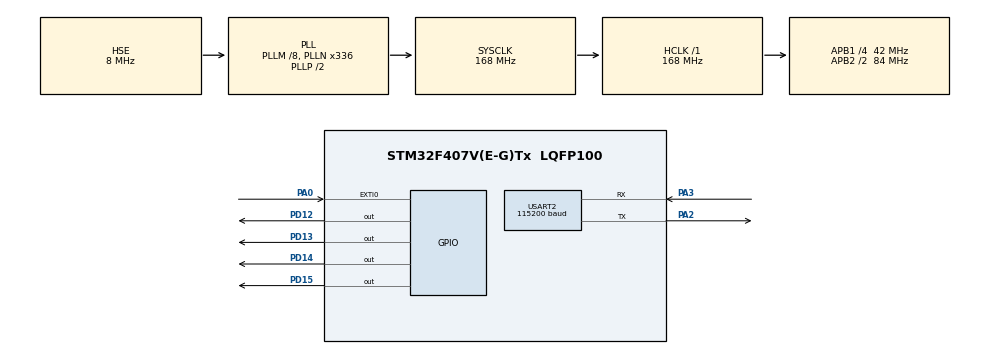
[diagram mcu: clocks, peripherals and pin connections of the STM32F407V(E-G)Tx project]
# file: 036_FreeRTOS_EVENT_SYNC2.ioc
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FREERTOS.Tasks01=defaultTask,24,128,StartDefaultTask,Default,NULL,Dynamic,NULL,NULL
FREERTOS.configUSE_NEWLIB_REENTRANT=1
Mcu.Family=STM32F4
Mcu.Name=STM32F407V(E-G)Tx
Mcu.Package=LQFP100
NVIC.EXTI0_IRQn=true\:5\:0\:false\:false\:true\:true\:true\:true\:true
NVIC.PriorityGroup=NVIC_PRIORITYGROUP_4
NVIC.TIM8_TRG_COM_TIM14_IRQn=true\:15\:0\:false\:false\:true\:false\:false\:true\:true
NVIC.TimeBase=TIM8_TRG_COM_TIM14_IRQn
NVIC.TimeBaseIP=TIM14
NVIC.USART2_IRQn=true\:5\:0\:false\:false\:true\:true\:true\:true\:true
PA0-WKUP.Signal=GPXTI0
PA2.Mode=Asynchronous
PA2.Signal=USART2_TX
PA3.Mode=Asynchronous
PA3.Signal=USART2_RX
PD12.Signal=GPIO_Output
PD13.Signal=GPIO_Output
PD14.Signal=GPIO_Output
PD15.Signal=GPIO_Output
PH0-OSC_IN.Mode=HSE-External-Oscillator
PH0-OSC_IN.Signal=RCC_OSC_IN
PH1-OSC_OUT.Mode=HSE-External-Oscillator
PH1-OSC_OUT.Signal=RCC_OSC_OUT
ProjectManager.HeapSize=0x200
ProjectManager.StackSize=0x400
ProjectManager.TargetToolchain=STM32CubeIDE
RCC.48MHZClocksFreq_Value=48000000
RCC.AHBFreq_Value=168000000
RCC.APB1CLKDivider=RCC_HCLK_DIV4
RCC.APB1Freq_Value=42000000
RCC.APB1TimFreq_Value=84000000
RCC.APB2CLKDivider=RCC_HCLK_DIV2
RCC.APB2Freq_Value=84000000
RCC.APB2TimFreq_Value=168000000
RCC.CortexFreq_Value=168000000
RCC.HCLKFreq_Value=168000000
RCC.HSE_VALUE=8000000
RCC.HSI_VALUE=16000000
RCC.LSE_VALUE=32768
RCC.PLLM=8
RCC.PLLN=336
RCC.PLLQ=7
RCC.PLLSourceVirtual=RCC_PLLSOURCE_HSE
RCC.SYSCLKFreq_VALUE=168000000
RCC.SYSCLKSource=RCC_SYSCLKSOURCE_PLLCLK
RCC.VCOOutputFreq_Value=336000000
USART2.BaudRate=115200
USART2.VirtualMode=VM_ASYNC
VP_FREERTOS_VS_CMSIS_V2.Mode=CMSIS_V2
VP_SYS_VS_tim14.Mode=TIM14
board=STM32F407G-DISC1

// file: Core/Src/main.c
/* USER CODE BEGIN Header */
/**
  ******************************************************************************
  * @file           : main.c
  * @brief          : Main program body
  ******************************************************************************
  * @attention
  *
  * Copyright (c) 2023 STMicroelectronics.
  * All rights reserved.
  *
  * This software is licensed under terms that can be found in the LICENSE file
  * in the root directory of this software component.
  * If no LICENSE file comes with this software, it is provided AS-IS.
  *
  ******************************************************************************
  */
/* USER CODE END Header */
#include "main.h"

/* USER CODE BEGIN Includes */
#include "FreeRTOS.h"
#include "task.h"
#include "queue.h"
#include "event_groups.h"
#include <string.h>
#include <stdio.h>
#include <stdlib.h>
/* USER CODE END Includes */

/* USER CODE BEGIN PD */
#define TASK_0_BIT        ( 1 << 0 )
#define TASK_1_BIT        ( 1 << 1 )
#define TASK_2_BIT        ( 1 << 2 )
#define ALL_SYNC_BITS	  (0x07)
/* USER CODE END PD */

UART_HandleTypeDef huart2;

/* Definitions for defaultTask */
/* USER CODE BEGIN PV */
EventGroupHandle_t xEventBits;
/* USER CODE END PV */

void SystemClock_Config(void);
static void MX_GPIO_Init(void);
static void MX_USART2_UART_Init(void);

/* USER CODE BEGIN 0 */
void vTask0( void *pvParameters )
{
	EventBits_t uxReturn;
	char buffer[100];
    for( ;; )
    {
    	sprintf(buffer, "Task 0 reached sync point!\r\n");
    	HAL_UART_Transmit(&huart2, (uint8_t *)buffer, strlen(buffer), HAL_MAX_DELAY);
        uxReturn = xEventGroupSync( xEventBits,
                                    TASK_0_BIT,
                                    ALL_SYNC_BITS,
                                    portMAX_DELAY );
        if( ( uxReturn & ALL_SYNC_BITS ) == ALL_SYNC_BITS )
        {
        	HAL_GPIO_TogglePin(GPIOD, GPIO_PIN_15);        }
        HAL_GPIO_TogglePin(GPIOD, GPIO_PIN_14);
        sprintf(buffer, "Task 0 reached exited point!\r\n");
        HAL_UART_Transmit(&huart2, (uint8_t *)buffer, strlen(buffer), HAL_MAX_DELAY);
        vTaskDelay(pdMS_TO_TICKS(2000));
    }
}

void vTask1( void *pvParameters )
{
	char buffer[100];
    for( ;; )
    {
    	sprintf(buffer, "Task 1 reached sync point!\r\n");
    	    	HAL_UART_Transmit(&huart2, (uint8_t *)buffer, strlen(buffer), HAL_MAX_DELAY);
        xEventGroupSync( xEventBits, TASK_1_BIT, ALL_SYNC_BITS, portMAX_DELAY );
        HAL_GPIO_TogglePin(GPIOD, GPIO_PIN_13);
        sprintf(buffer, "Task 1 reached exited point!\r\n");
                HAL_UART_Transmit(&huart2, (uint8_t *)buffer, strlen(buffer), HAL_MAX_DELAY);
        vTaskDelay(pdMS_TO_TICKS(900));
    }
}

void vTask2( void *pvParameters )
{
	char buffer[100];
    for( ;; )
    {
    	sprintf(buffer, "Task 2 reached sync point!\r\n");
    	    	    	HAL_UART_Transmit(&huart2, (uint8_t *)buffer, strlen(buffer), HAL_MAX_DELAY);
        xEventGroupSync( xEventBits, TASK_2_BIT, ALL_SYNC_BITS, portMAX_DELAY );
        HAL_GPIO_TogglePin(GPIOD, GPIO_PIN_12);
        sprintf(buffer, "Task 2 reached exited point!\r\n");
                        HAL_UART_Transmit(&huart2, (uint8_t *)buffer, strlen(buffer), HAL_MAX_DELAY);
        vTaskDelay(pdMS_TO_TICKS(700));
    }
}

/* USER CODE END 0 */

int main(void)
{

  /* MCU Configuration--------------------------------------------------------*/

  /* Reset of all peripherals, Initializes the Flash interface and the Systick. */
  HAL_Init();

  /* Configure the system clock */
  SystemClock_Config();

  /* Initialize all configured peripherals */
  MX_GPIO_Init();
  MX_USART2_UART_Init();
  /* USER CODE BEGIN 2 */
  xEventBits = xEventGroupCreate();

  xTaskCreate(vTask0, "Task 1", 1200, NULL, 2, NULL);
  xTaskCreate(vTask1, "Task 2", 1200, NULL, 2, NULL);
  xTaskCreate(vTask2, "Task 3", 1200, NULL, 2, NULL);

  vTaskStartScheduler();
  /* USER CODE END 2 */

  /* Init scheduler */

  /* Create the thread(s) */
  /* creation of defaultTask */

  /* Start scheduler */
  /* We should never get here as control is now taken by the scheduler */
  /* Infinite loop */
  while (1)
  {

  }
}

void SystemClock_Config(void)
{
  RCC_OscInitTypeDef RCC_OscInitStruct = {0};
  RCC_ClkInitTypeDef RCC_ClkInitStruct = {0};

  /** Configure the main internal regulator output voltage
  */
  __HAL_RCC_PWR_CLK_ENABLE();
  __HAL_PWR_VOLTAGESCALING_CONFIG(PWR_REGULATOR_VOLTAGE_SCALE1);

  /** Initializes the RCC Oscillators according to the specified parameters
  * in the RCC_OscInitTypeDef structure.
  */
  RCC_OscInitStruct.OscillatorType = RCC_OSCILLATORTYPE_HSE;
  RCC_OscInitStruct.HSEState = RCC_HSE_ON;
  RCC_OscInitStruct.PLL.PLLState = RCC_PLL_ON;
  RCC_OscInitStruct.PLL.PLLSource = RCC_PLLSOURCE_HSE;
  RCC_OscInitStruct.PLL.PLLM = 8;
  RCC_OscInitStruct.PLL.PLLN = 336;
  RCC_OscInitStruct.PLL.PLLP = RCC_PLLP_DIV2;
  RCC_OscInitStruct.PLL.PLLQ = 7;
  if (HAL_RCC_OscConfig(&RCC_OscInitStruct) != HAL_OK)
  {
    Error_Handler();
  }

  /** Initializes the CPU, AHB and APB buses clocks
  */
  RCC_ClkInitStruct.ClockType = RCC_CLOCKTYPE_HCLK|RCC_CLOCKTYPE_SYSCLK
                              |RCC_CLOCKTYPE_PCLK1|RCC_CLOCKTYPE_PCLK2;
  RCC_ClkInitStruct.SYSCLKSource = RCC_SYSCLKSOURCE_PLLCLK;
  RCC_ClkInitStruct.AHBCLKDivider = RCC_SYSCLK_DIV1;
  RCC_ClkInitStruct.APB1CLKDivider = RCC_HCLK_DIV4;
  RCC_ClkInitStruct.APB2CLKDivider = RCC_HCLK_DIV2;

  if (HAL_RCC_ClockConfig(&RCC_ClkInitStruct, FLASH_LATENCY_5) != HAL_OK)
  {
    Error_Handler();
  }
}

static void MX_USART2_UART_Init(void)
{

  huart2.Instance = USART2;
  huart2.Init.BaudRate = 115200;
  huart2.Init.WordLength = UART_WORDLENGTH_8B;
  huart2.Init.StopBits = UART_STOPBITS_1;
  huart2.Init.Parity = UART_PARITY_NONE;
  huart2.Init.Mode = UART_MODE_TX_RX;
  huart2.Init.HwFlowCtl = UART_HWCONTROL_NONE;
  huart2.Init.OverSampling = UART_OVERSAMPLING_16;
  if (HAL_UART_Init(&huart2) != HAL_OK)
  {
    Error_Handler();
  }

}

static void MX_GPIO_Init(void)
{
  GPIO_InitTypeDef GPIO_InitStruct = {0};

  /* GPIO Ports Clock Enable */
  __HAL_RCC_GPIOH_CLK_ENABLE();
  __HAL_RCC_GPIOA_CLK_ENABLE();
  __HAL_RCC_GPIOD_CLK_ENABLE();

  /*Configure GPIO pin Output Level */
  HAL_GPIO_WritePin(GPIOD, GPIO_PIN_12|GPIO_PIN_13|GPIO_PIN_14|GPIO_PIN_15, GPIO_PIN_RESET);

  /*Configure GPIO pin : PA0 */
  GPIO_InitStruct.Pin = GPIO_PIN_0;
  GPIO_InitStruct.Mode = GPIO_MODE_IT_RISING;
  GPIO_InitStruct.Pull = GPIO_NOPULL;
  HAL_GPIO_Init(GPIOA, &GPIO_InitStruct);

  /*Configure GPIO pins : PD12 PD13 PD14 PD15 */
  GPIO_InitStruct.Pin = GPIO_PIN_12|GPIO_PIN_13|GPIO_PIN_14|GPIO_PIN_15;
  GPIO_InitStruct.Mode = GPIO_MODE_OUTPUT_PP;
  GPIO_InitStruct.Pull = GPIO_NOPULL;
  GPIO_InitStruct.Speed = GPIO_SPEED_FREQ_LOW;
  HAL_GPIO_Init(GPIOD, &GPIO_InitStruct);

  /* EXTI interrupt init*/
  HAL_NVIC_SetPriority(EXTI0_IRQn, 5, 0);
  HAL_NVIC_EnableIRQ(EXTI0_IRQn);

}

void HAL_TIM_PeriodElapsedCallback(TIM_HandleTypeDef *htim)
{
  if (htim->Instance == TIM14) {
    HAL_IncTick();
  }
}

void Error_Handler(void)
{
  __disable_irq();
  while (1)
  {
  }
}
